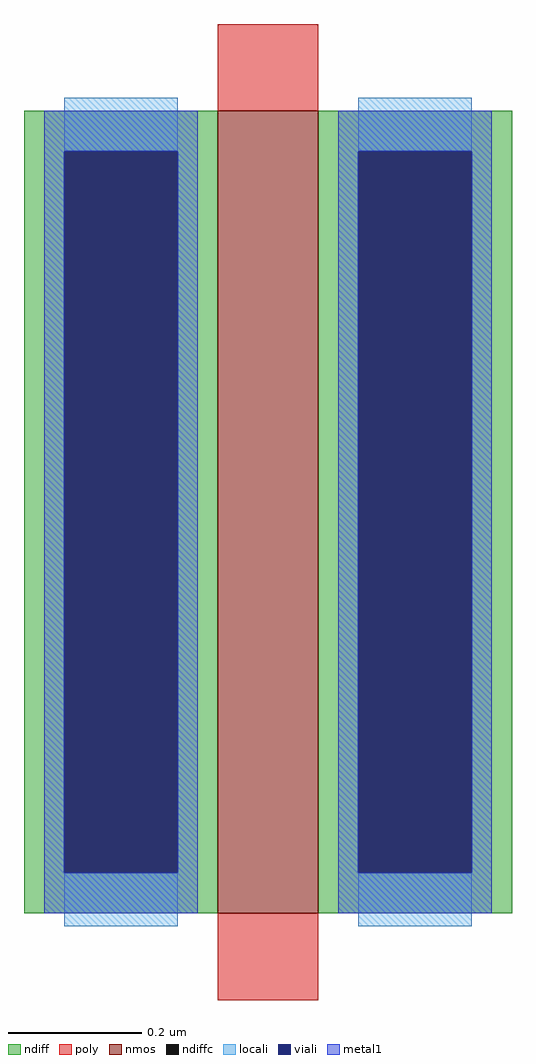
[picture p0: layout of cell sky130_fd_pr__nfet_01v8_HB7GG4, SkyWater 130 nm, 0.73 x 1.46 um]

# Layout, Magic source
magic
tech sky130A
magscale 1 2
<< nmos >>
rect -15 -120 15 120
<< ndiff >>
rect -73 108 -15 120
rect -73 -108 -61 108
rect -27 -108 -15 108
rect -73 -120 -15 -108
rect 15 108 73 120
rect 15 -108 27 108
rect 61 -108 73 108
rect 15 -120 73 -108
<< ndiffc >>
rect -61 -108 -27 108
rect 27 -108 61 108
<< poly >>
rect -15 120 15 146
rect -15 -146 15 -120
<< locali >>
rect -61 108 -27 124
rect -61 -124 -27 -108
rect 27 108 61 124
rect 27 -124 61 -108
<< viali >>
rect -61 -108 -27 108
rect 27 -108 61 108
<< metal1 >>
rect -67 108 -21 120
rect -67 -108 -61 108
rect -27 -108 -21 108
rect -67 -120 -21 -108
rect 21 108 67 120
rect 21 -108 27 108
rect 61 -108 67 108
rect 21 -120 67 -108
<< properties >>
string gencell sky130_fd_pr__nfet_01v8
string library sky130
string parameters w 1.2 l 0.150 m 1 nf 1 diffcov 100 polycov 100 guard 0 glc 1 grc 1 gtc 1 gbc 1 tbcov 100 rlcov 100 topc 0 botc 0 poverlap 0 doverlap 1 lmin 0.15 wmin 0.42 compatible {sky130_fd_pr__nfet_01v8 sky130_fd_pr__nfet_01v8_lvt  sky130_fd_bs_flash__special_sonosfet_star  sky130_fd_pr__nfet_g5v0d10v5 sky130_fd_pr__nfet_05v0_nvt  sky130_fd_pr__nfet_03v3_nvt} full_metal 1 viasrc 100 viadrn 100 viagate 100 viagb 0 viagr 0 viagl 0 viagt 0
<< end >>
